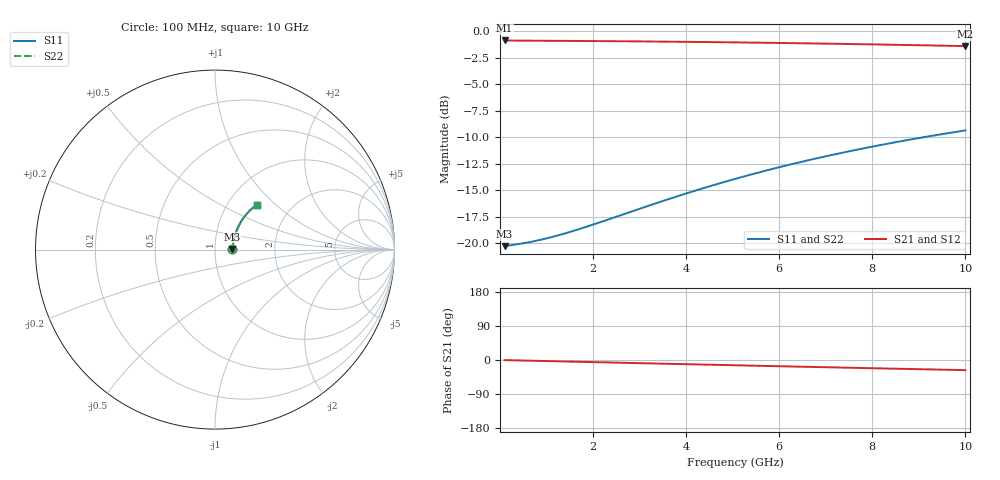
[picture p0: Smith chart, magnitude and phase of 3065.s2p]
# Hz S RI R 50.00
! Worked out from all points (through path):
!   100 points, 100 MHz to 10 GHz, reference 50 ohm
!   highest |S21| = -0.89 dB at 100 MHz (marker M1); lowest = -1.4 dB at 10 GHz (marker M2)
!   group delay of S21, straight-line fit = 7.45 ps
!   lowest |S11| = -20.3 dB at 100 MHz (marker M3), VSWR 1.21, Z = 60.7 + j0.376 ohm
!   |S11| at or under -10 dB: start of sweep to 9.107 GHz
!   |S22| runs from -20.3 to -9.4 dB; largest |S21 - S12| = 0
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1e8  0.0969 0.00307  0.9031 -0.0044  0.9031 -0.0044  0.0969 0.00307
5e8  0.0989 0.0153  0.9011 -0.0219  0.9011 -0.0219  0.0989 0.0153
7e8  0.0997 0.0214  0.9002 -0.0306  0.9002 -0.0306  0.0997 0.0214
9e8  0.1006 0.0274  0.8993 -0.0393  0.8993 -0.0393  0.1006 0.0274
1.1e9  0.1015 0.0334  0.8984 -0.048  0.8984 -0.048  0.1015 0.0334
1.3e9  0.1025 0.0395  0.8973 -0.0567  0.8973 -0.0567  0.1025 0.0395
1.5e9  0.1036 0.0454  0.8962 -0.0653  0.8962 -0.0653  0.1036 0.0454
1.8e9  0.1054 0.0544  0.8943 -0.0782  0.8943 -0.0782  0.1054 0.0544
2.6e9  0.1112 0.0778  0.8881 -0.1123  0.8881 -0.1123  0.1112 0.0778
3.4e9  0.1187 0.1007  0.8802 -0.1458  0.8802 -0.1458  0.1187 0.1007
3.9e9  0.1242 0.1146  0.8744 -0.1664  0.8744 -0.1664  0.1242 0.1146
4.3e9  0.129 0.1255  0.8693 -0.1826  0.8693 -0.1826  0.129 0.1255
4.7e9  0.1342 0.1361  0.8637 -0.1985  0.8637 -0.1985  0.1342 0.1361
5.1e9  0.1398 0.1465  0.8578 -0.2142  0.8578 -0.2142  0.1398 0.1465
5.5e9  0.1457 0.1566  0.8515 -0.2297  0.8515 -0.2297  0.1457 0.1566
5.9e9  0.152 0.1665  0.8448 -0.2449  0.8448 -0.2449  0.152 0.1665
6.3e9  0.1586 0.176  0.8377 -0.2598  0.8377 -0.2598  0.1586 0.176
6.7e9  0.1655 0.1853  0.8303 -0.2744  0.8303 -0.2744  0.1655 0.1853
7.5e9  0.1801 0.2028  0.8146 -0.3027  0.8146 -0.3027  0.1801 0.2028
8.4e9  0.1979 0.221  0.7955 -0.3329  0.7955 -0.3329  0.1979 0.221
9.2e9  0.2146 0.2357  0.7774 -0.3584  0.7774 -0.3584  0.2146 0.2357
1e10  0.2321 0.2489  0.7585 -0.3824  0.7585 -0.3824  0.2321 0.2489
